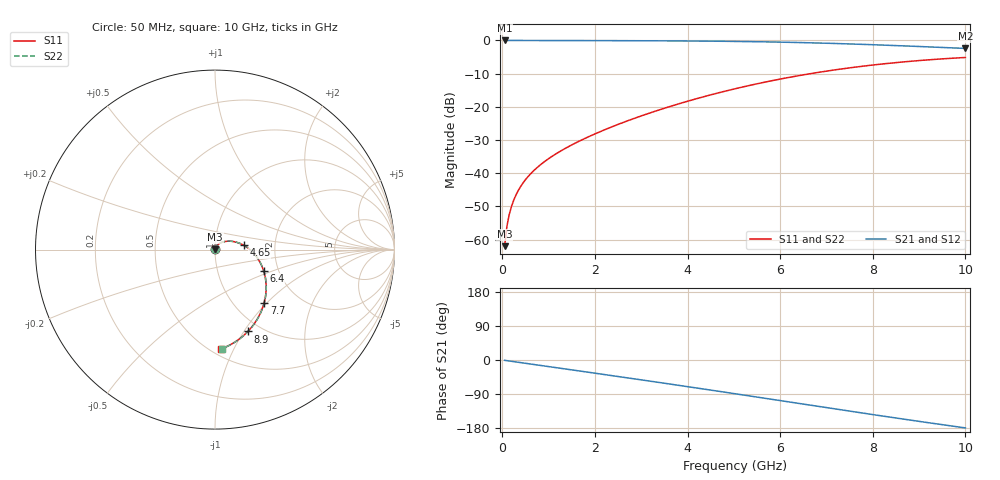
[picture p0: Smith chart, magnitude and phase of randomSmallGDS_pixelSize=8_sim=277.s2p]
! freq	dB(S11)	phase(S11)	dB(S12)	phase(S12)
!  dB(S21)	phase(S21)	dB(S22)	phase(S22)
!S-par simulation data
#  GHz  S  DB  R 50
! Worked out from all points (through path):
!   200 points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, 50 MHz to 10 GHz, reference 50 ohm
!   highest |S21| = 0.00 dB at 50 MHz (marker M1); lowest = -2.4 dB at 10 GHz (marker M2)
!   group delay of S21, straight-line fit = 50.3 ps
!   lowest |S11| = -62.0 dB at 50 MHz (marker M3), VSWR 1.00, Z = 50 + j0.0793 ohm
!   |S11| at or under -10 dB: start of sweep to 6.655 GHz
!   |S22| runs from -62.0 to -5.1 dB; largest |S21 - S12| = 0
!   S11 on the Smith chart (normalised r, x): 50 MHz: 1.00, +0.00; 4.65 GHz: 1.38, +0.07; 6.4 GHz: 1.67, -0.43; 7.7 GHz: 1.36, -0.96; 8.9 GHz: 0.87, -1.04; 10 GHz: 0.56, -0.89
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0.05  -62.00 86.1  -0.00 -0.9  -0.00 -0.9  -62.00 86.1
0.1  -55.99 86.6  -0.00 -1.8  -0.00 -1.8  -55.99 86.6
0.15  -52.47 86.1  -0.00 -2.6  -0.00 -2.6  -52.47 86.2
0.2  -49.97 85.4  -0.00 -3.5  -0.00 -3.5  -49.97 85.5
0.3  -46.44 83.8  -0.01 -5.3  -0.01 -5.3  -46.44 83.9
0.45  -42.90 81.3  -0.01 -7.9  -0.01 -7.9  -42.90 81.4
0.65  -39.63 78.1  -0.01 -11.3  -0.01 -11.3  -39.63 78.1
0.95  -36.12 73.2  -0.02 -16.5  -0.02 -16.5  -36.12 73.3
1.3  -33.00 67.6  -0.03 -22.6  -0.03 -22.6  -33.00 67.7
1.75  -29.75 60.1  -0.04 -30.4  -0.04 -30.4  -29.75 60.2
2.55  -25.03 46.3  -0.06 -44.4  -0.06 -44.4  -25.03 46.5
3.4  -20.87 31.3  -0.11 -59.5  -0.11 -59.5  -20.87 31.5
4.05  -18.12 19.6  -0.16 -71.2  -0.16 -71.2  -18.12 19.8
4.65  -15.85 8.7  -0.23 -82.1  -0.23 -82.1  -15.85 8.9
5.05  -14.48 1.4  -0.29 -89.4  -0.29 -89.4  -14.48 1.6
5.7  -12.47 -10.5  -0.42 -101.5  -0.42 -101.5  -12.47 -10.3
6.4  -10.61 -23.4  -0.62 -114.5  -0.62 -114.5  -10.61 -23.2
6.7  -9.90 -28.9  -0.72 -120.1  -0.72 -120.1  -9.90 -28.8
7.7  -7.90 -47.1  -1.14 -138.6  -1.14 -138.6  -7.90 -46.9
8.35  -6.88 -58.6  -1.46 -150.4  -1.46 -150.4  -6.88 -58.4
8.9  -6.17 -68.1  -1.76 -160.2  -1.76 -160.2  -6.17 -67.9
10  -5.13 -86.3  -2.40 -179.2  -2.40 -179.2  -5.13 -86.1
